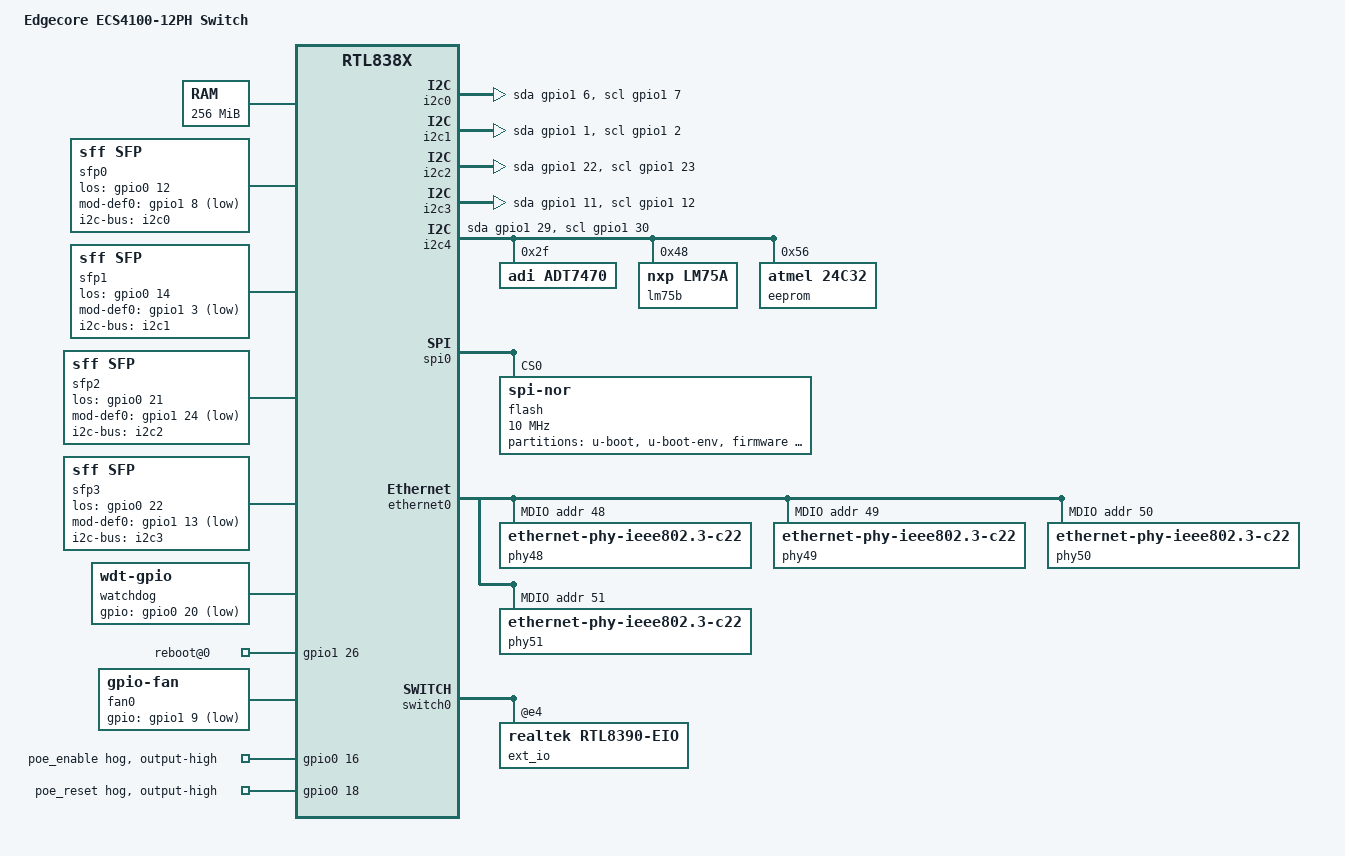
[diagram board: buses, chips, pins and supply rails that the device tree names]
// SPDX-License-Identifier: GPL-2.0-or-later

#include "rtl839x.dtsi"

#include <dt-bindings/input/input.h>
#include <dt-bindings/gpio/gpio.h>

/ {
	compatible = "edgecore,ecs4100-12ph", "realtek,rtl838x-soc";
	model = "Edgecore ECS4100-12PH Switch";

	aliases {
		led-boot = &led_sys;
		led-failsafe = &led_sys;
		led-running = &led_sys;
		led-upgrade = &led_sys;
	};

	chosen {
		bootargs = "console=ttyS0,115200";
	};

	memory@0 {
		device_type = "memory";
		reg = <0x0 0x10000000>;
	};

	/* i2c of the left SFP cage: port 9 */
	i2c0: i2c-gpio-0 {
		compatible = "i2c-gpio";
		sda-gpios = <&gpio1 6 (GPIO_ACTIVE_HIGH | GPIO_OPEN_DRAIN)>;
		scl-gpios = <&gpio1 7 (GPIO_ACTIVE_HIGH | GPIO_OPEN_DRAIN)>;
		i2c-gpio,delay-us = <2>;
		#address-cells = <1>;
		#size-cells = <0>;
	};

	sfp0: sfp-p9 {
		compatible = "sff,sfp";
		i2c-bus = <&i2c0>;
		los-gpio = <&gpio0 12 GPIO_ACTIVE_HIGH>;
		mod-def0-gpio = <&gpio1 8 GPIO_ACTIVE_LOW>;
	};

	i2c1: i2c-gpio-1 {
		compatible = "i2c-gpio";
		sda-gpios = <&gpio1 1 (GPIO_ACTIVE_HIGH | GPIO_OPEN_DRAIN)>;
		scl-gpios = <&gpio1 2 (GPIO_ACTIVE_HIGH | GPIO_OPEN_DRAIN)>;
		i2c-gpio,delay-us = <2>;
		#address-cells = <1>;
		#size-cells = <0>;
	};

	sfp1: sfp-p10 {
		compatible = "sff,sfp";
		i2c-bus = <&i2c1>;
		los-gpio = <&gpio0 14 GPIO_ACTIVE_HIGH>;
		mod-def0-gpio = <&gpio1 3 GPIO_ACTIVE_LOW>;
	};

	i2c2: i2c-gpio-2 {
		compatible = "i2c-gpio";
		sda-gpios = <&gpio1 22 (GPIO_ACTIVE_HIGH | GPIO_OPEN_DRAIN)>;
		scl-gpios = <&gpio1 23 (GPIO_ACTIVE_HIGH | GPIO_OPEN_DRAIN)>;
		i2c-gpio,delay-us = <2>;
		#address-cells = <1>;
		#size-cells = <0>;
	};

	sfp2: sfp-p11 {
		compatible = "sff,sfp";
		i2c-bus = <&i2c2>;
		los-gpio = <&gpio0 21 GPIO_ACTIVE_HIGH>;
		mod-def0-gpio = <&gpio1 24 GPIO_ACTIVE_LOW>;
	};

	i2c3: i2c-gpio-3 {
		compatible = "i2c-gpio";
		sda-gpios = <&gpio1 11 (GPIO_ACTIVE_HIGH | GPIO_OPEN_DRAIN)>;
		scl-gpios = <&gpio1 12 (GPIO_ACTIVE_HIGH | GPIO_OPEN_DRAIN)>;
		i2c-gpio,delay-us = <2>;
		#address-cells = <1>;
		#size-cells = <0>;
	};

	sfp3: sfp-p12 {
		compatible = "sff,sfp";
		i2c-bus = <&i2c3>;
		los-gpio = <&gpio0 22 GPIO_ACTIVE_HIGH>;
		mod-def0-gpio = <&gpio1 13 GPIO_ACTIVE_LOW>;
	};

	i2c4: i2c-gpio-4 {
		compatible = "i2c-gpio";
		sda-gpios = <&gpio1 29 (GPIO_ACTIVE_HIGH | GPIO_OPEN_DRAIN)>;
		scl-gpios = <&gpio1 30 (GPIO_ACTIVE_HIGH | GPIO_OPEN_DRAIN)>;
		i2c-gpio,delay-us = <2>;
		#address-cells = <1>;
		#size-cells = <0>;

		adt7470@2f {
			compatible = "adi,adt7470";
			reg = <0x2f>;
		};

		lm75b@48 {
			compatible = "nxp,lm75a";
			reg = <0x48>;
		};

		eeprom@506 {
			compatible = "atmel,24c32";
			reg = <0x56>;
		};
	};

	watchdog {
                compatible = "linux,wdt-gpio";
                gpios = <&gpio0 20 GPIO_ACTIVE_LOW>;
                hw_algo = "toggle";
                hw_margin_ms = <1200>;
        };

	reboot@0 {
		compatible = "edgecore,reboot";
		gpios = <&gpio1 26 GPIO_ACTIVE_HIGH>;
	};

	 fan0: gpio-fan {
                #cooling-cells = <2>;
                compatible = "gpio-fan";
                gpio-fan,speed-map = <0 0 3000 1>;
                gpios = <&gpio1 9 GPIO_ACTIVE_LOW>;
                status = "okay";
        };
};

&gpio1 {
	status = "okay";
};

&gpio0 {
	poe_enable {
		gpio-hog;
		gpios = <16 GPIO_ACTIVE_HIGH>;
		output-high;
	};

	poe_reset {
		gpio-hog;
		gpios = <18 GPIO_ACTIVE_HIGH>;
		output-high;
	};
};

&spi0 {
	status = "okay";

	flash@0 {
		compatible = "jedec,spi-nor";
		reg = <0>;
		spi-max-frequency = <10000000>;

		partitions {
			compatible = "fixed-partitions";
			#address-cells = <1>;
			#size-cells = <1>;

			partition@0 {
				label = "u-boot";
				reg = <0x0 0x40000>;
				read-only;
			};
			partition@100000 {
				label = "u-boot-env";
				reg = <0x100000 0x100000>;
				read-only;
			};
			partition@200000 {
				label = "firmware";
				reg = <0x200000 0xdf0000>;
				compatible = "openwrt,uimage", "denx,uimage";
			};
			partition@ff0000 {
				label = "certificates";
				reg = <0xff0000 0x10000>;
			};
		};
	};
};

&ethernet0 {
	mdio: mdio-bus {
		compatible = "realtek,rtl838x-mdio";
		regmap = <&ethernet0>;
		#address-cells = <1>;
		#size-cells = <0>;

		INTERNAL_PHY(0)
		INTERNAL_PHY(1)
		INTERNAL_PHY(2)
		INTERNAL_PHY(3)
		INTERNAL_PHY(4)
		INTERNAL_PHY(5)
		INTERNAL_PHY(6)
		INTERNAL_PHY(7)

		phy48: ethernet-phy@48 {
			reg = <48>;
			compatible = "ethernet-phy-ieee802.3-c22";
			sfp = <&sfp0>;
		};

		phy49: ethernet-phy@49 {
			reg = <49>;
			compatible = "ethernet-phy-ieee802.3-c22";
			sfp = <&sfp1>;
		};

		phy50: ethernet-phy@50 {
			reg = <50>;
			compatible = "ethernet-phy-ieee802.3-c22";
			sfp = <&sfp2>;
		};

		phy51: ethernet-phy@51 {
			reg = <51>;
			compatible = "ethernet-phy-ieee802.3-c22";
			sfp = <&sfp3>;
		};
	};
};

&switch0 {
	ext_io: ext-io@e4 {
		compatible = "realtek,rtl8390-eio", "syscon";
		reg = <0xe4 0x17c>;

		led_sys: sys-led {
			active-low;
			label = "green:status";
			linux,default-trigger = "default-on";
		};
	};
	ports {
		#address-cells = <1>;
		#size-cells = <0>;

		SWITCH_PORT(0, 1, qsgmii)
		SWITCH_PORT(1, 2, qsgmii)
		SWITCH_PORT(2, 3, qsgmii)
		SWITCH_PORT(3, 4, qsgmii)
		SWITCH_PORT(4, 5, qsgmii)
		SWITCH_PORT(5, 6, qsgmii)
		SWITCH_PORT(6, 7, qsgmii)
		SWITCH_PORT(7, 8, qsgmii)

		port@48 {
			reg = <48>;
			label = "lan9";
			phy-mode = "sgmii";
			phy-handle = <&phy48>;
			managed = "in-band-status";
		};

		port@49 {
			reg = <49>;
			label = "lan10";
			phy-mode = "sgmii";
			phy-handle = <&phy49>;
			managed = "in-band-status";
		};

		port@50 {
			reg = <50>;
			label = "lan11";
			phy-mode = "sgmii";
			phy-handle = <&phy50>;
			managed = "in-band-status";
		};

		port@51 {
			reg = <51>;
			label = "lan12";
			phy-mode = "sgmii";
			phy-handle = <&phy51>;
			managed = "in-band-status";
		};

		port@52 {
			ethernet = <&ethernet0>;
			reg = <52>;
			phy-mode = "qsgmii";

			fixed-link {
				speed = <1000>;
				full-duplex;
			};
		};
	};
};
